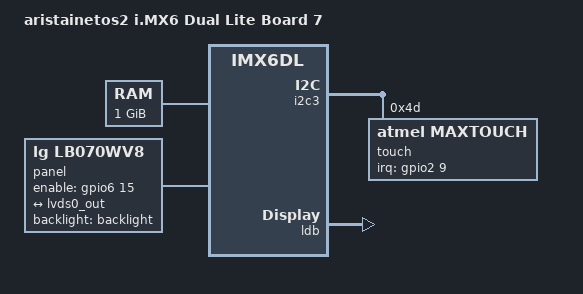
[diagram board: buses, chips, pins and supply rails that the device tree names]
// SPDX-License-Identifier: (GPL-2.0-only OR MIT)
/*
 * support for the imx6 based aristainetos2 board
 *
 * Copyright (C) 2015 Heiko Schocher <hs@denx.de>
 */
/dts-v1/;
#include "imx6dl.dtsi"
#include "imx6qdl-aristainetos2.dtsi"

/ {
	model = "aristainetos2 i.MX6 Dual Lite Board 7";
	compatible = "abb,aristainetos2-imx6dl-7", "fsl,imx6dl";

	memory@10000000 {
		device_type = "memory";
		reg = <0x10000000 0x40000000>;
	};

	panel: panel {
		compatible = "lg,lb070wv8";
		backlight = <&backlight>;
		enable-gpios = <&gpio6 15 GPIO_ACTIVE_HIGH>;

		port {
			panel_in: endpoint {
				remote-endpoint = <&lvds0_out>;
			};
		};
	};
};

&i2c3 {
	touch: touch@4d {
		compatible = "atmel,maxtouch";
		reg = <0x4d>;
		interrupt-parent = <&gpio2>;
		interrupts = <9 8>;
	};
};

&ldb {
	status = "okay";

	lvds-channel@0 {
		status = "okay";

		port@0 {
			reg = <0>;
			lvds0_in: endpoint {
				remote-endpoint = <&ipu1_di0_lvds0>;
			};
		};

		port@4 {
			reg = <4>;
			lvds0_out: endpoint {
				remote-endpoint = <&panel_in>;
			};
		};
	};
};
